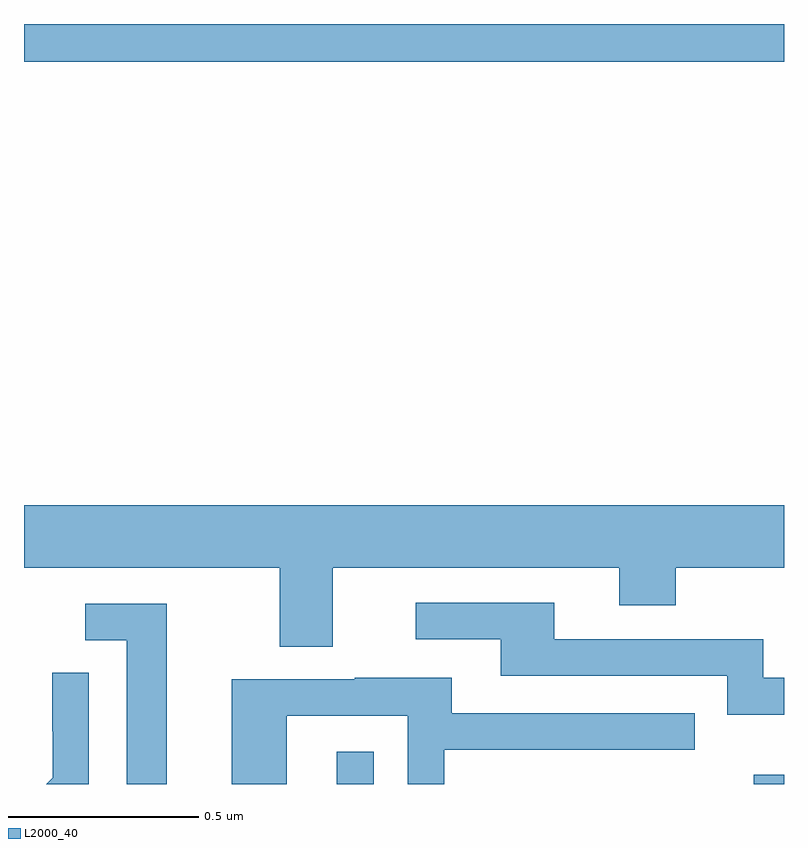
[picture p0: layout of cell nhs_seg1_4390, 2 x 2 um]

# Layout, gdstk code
import gdstk
lib = gdstk.Library(unit=1e-6, precision=1e-09)
def R(c, l, rs):  # rectangles x0, y0, x1, y1
    for r in rs: c.add(gdstk.rectangle(r[:2], r[2:], *l))
def P(c, l, *ps):  # polygons
    for p in ps: c.add(gdstk.Polygon(p, *l))
L2000_40 = (2000, 40)

nhs_seg1_4390 = lib.new_cell('nhs_seg1_4390')
R(nhs_seg1_4390, L2000_40, [(166.823,515.199,166.92,515.284), (167.921,515.199,168,515.224), (166,517.1,168,517.199)])
P(nhs_seg1_4390, L2000_40, [(166.813,515.768),(167.567,515.768),(167.567,515.669),(167.715,515.669),(167.715,515.768),(168,515.768),(168,515.932),(166,515.932),(166,515.768),(166.673,515.768),(166.673,515.56),(166.813,515.56)],
  [(168,515.478),(167.946,515.478),(167.946,515.58),(167.395,515.58),(167.395,515.676),(167.031,515.676),(167.031,515.58),(167.255,515.58),(167.255,515.484),(167.85,515.484),(167.85,515.381),(168,515.381)],
  [(166.375,515.673),(166.161,515.673),(166.161,515.577),(166.271,515.577),(166.271,515.199),(166.375,515.199)],
  [(166.17,515.492),(166.074,515.492),(166.074,515.338),(166.076,515.338),(166.076,515.216),(166.059,515.199),(166.17,515.199)],
  [(166.692,515.379),(167.01,515.379),(167.01,515.199),(167.106,515.199),(167.106,515.289),(167.765,515.289),(167.765,515.385),(167.125,515.385),(167.125,515.479),(166.871,515.479),(166.871,515.475),(166.547,515.475),(166.547,515.199),(166.692,515.199)])

lib.write_gds('nhs_seg1_4390.gds')
